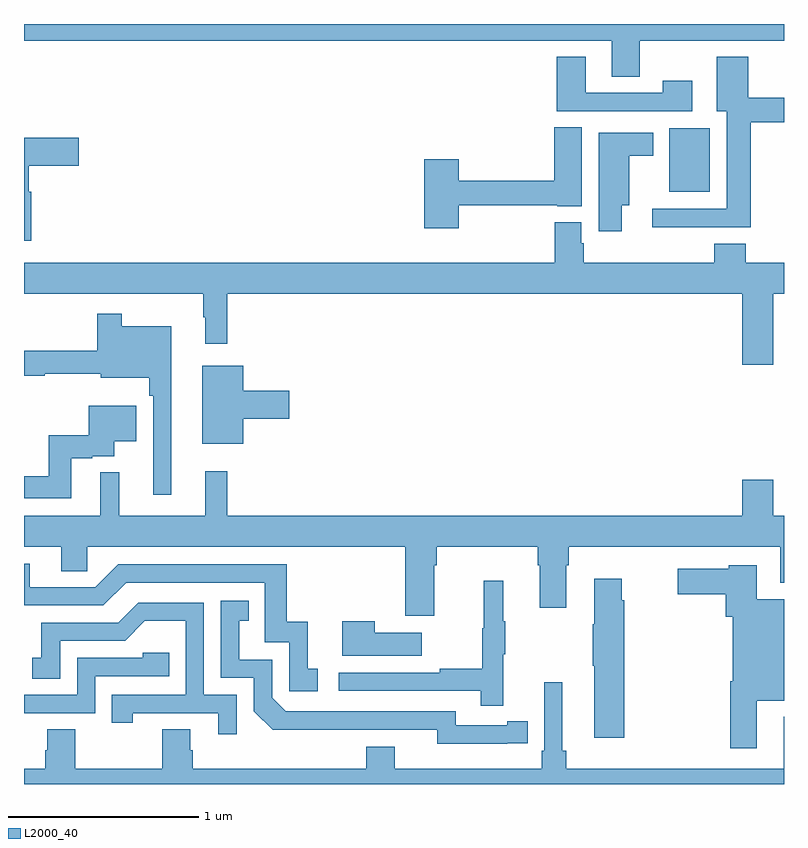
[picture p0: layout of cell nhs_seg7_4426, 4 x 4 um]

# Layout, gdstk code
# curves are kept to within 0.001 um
import gdstk
lib = gdstk.Library(unit=1e-6, precision=1e-09)
def R(c, l, rs):  # rectangles x0, y0, x1, y1
    for r in rs: c.add(gdstk.rectangle(r[:2], r[2:], *l))
def P(c, l, *ps):  # polygons
    for p in ps: c.add(gdstk.Polygon(p, *l))
L2000_40 = (2000, 40)

nhs_seg7_4426 = lib.new_cell('nhs_seg7_4426')
R(nhs_seg7_4426, L2000_40, [(392.396,1037.117,392.608,1037.452)])
P(nhs_seg7_4426, L2000_40, [(392.241,1037.912),(393,1037.912),(393,1038),(389,1038),(389,1037.912),(392.093,1037.912),(392.093,1037.722),(392.241,1037.722)],
  [(392.825,1037.482),(393,1037.482),(393,1037.611),(392.812,1037.611),(392.812,1037.827),(392.645,1037.827),(392.645,1037.54),(392.699,1037.54),(392.699,1037.028),(392.307,1037.028),(392.307,1036.93),(392.825,1036.93)],
  [(392.518,1037.701),(392.362,1037.701),(392.362,1037.637),(391.957,1037.637),(391.957,1037.827),(391.805,1037.827),(391.805,1037.541),(392.518,1037.541)],
  [(391.289,1037.046),(391.806,1037.046),(391.806,1037.042),(391.936,1037.042),(391.936,1037.456),(391.79,1037.456),(391.79,1037.174),(391.289,1037.174),(391.289,1037.287),(391.106,1037.287),(391.106,1036.926),(391.289,1036.926)],
  [(392.146,1037.045),(392.185,1037.045),(392.185,1037.306),(392.311,1037.306),(392.311,1037.428),(392.024,1037.428),(392.024,1036.908),(392.146,1036.908)],
  [(389.038,1037.118),(389.026,1037.118),(389.026,1037.255),(389.287,1037.255),(389.287,1037.402),(389,1037.402),(389,1036.859),(389.038,1036.859)],
  [(392.944,1036.58),(393,1036.58),(393,1036.744),(392.798,1036.744),(392.798,1036.843),(392.633,1036.843),(392.633,1036.744),(391.946,1036.744),(391.946,1036.845),(391.933,1036.845),(391.933,1036.957),(391.793,1036.957),(391.793,1036.744),(389,1036.744),(389,1036.58),(389.943,1036.58),(389.943,1036.457),(389.954,1036.457),(389.954,1036.317),(390.071,1036.317),(390.071,1036.58),(392.78,1036.58),(392.78,1036.206),(392.944,1036.206)],
  [(389.776,1036.408),(389.515,1036.408),(389.515,1036.474),(389.386,1036.474),(389.386,1036.279),(389,1036.279),(389,1036.15),(389.109,1036.15),(389.109,1036.158),(389.405,1036.158),(389.405,1036.139),(389.659,1036.139),(389.659,1036.043),(389.679,1036.043),(389.679,1035.522),(389.776,1035.522)],
  [(390.154,1035.923),(390.397,1035.923),(390.397,1036.07),(390.154,1036.07),(390.154,1036.201),(389.939,1036.201),(389.939,1035.791),(390.154,1035.791)],
  [(389.248,1035.714),(389.358,1035.714),(389.358,1035.726),(389.476,1035.726),(389.476,1035.803),(389.59,1035.803),(389.59,1035.991),(389.342,1035.991),(389.342,1035.835),(389.131,1035.835),(389.131,1035.62),(389,1035.62),(389,1035.504),(389.248,1035.504)],
  [(391.159,1035.152),(391.172,1035.152),(391.172,1035.248),(391.703,1035.248),(391.703,1035.152),(391.715,1035.152),(391.715,1034.928),(391.855,1034.928),(391.855,1035.152),(391.868,1035.152),(391.868,1035.248),(392.981,1035.248),(392.981,1035.058),(393,1035.058),(393,1035.412),(392.944,1035.412),(392.944,1035.601),(392.78,1035.601),(392.78,1035.412),(390.071,1035.412),(390.071,1035.646),(389.954,1035.646),(389.954,1035.412),(389.501,1035.412),(389.501,1035.641),(389.402,1035.641),(389.402,1035.412),(389,1035.412),(389,1035.248),(389.195,1035.248),(389.195,1035.121),(389.334,1035.121),(389.334,1035.248),(391.007,1035.248),(391.007,1034.886),(391.159,1034.886)],
  [(390.547,1034.607),(390.494,1034.607),(390.494,1034.853),(390.383,1034.853),(390.383,1035.156),(389.496,1035.156),(389.376,1035.036),(389.029,1035.036),(389.029,1035.159),(389,1035.159),(389,1034.94),(389.418,1034.94),(389.538,1035.06),(390.267,1035.06),(390.267,1034.745),(390.396,1034.745),(390.396,1034.487),(390.547,1034.487)],
  [(392.857,1034.438),(393,1034.438),(393,1034.973),(392.857,1034.973),(392.857,1035.151),(392.709,1035.151),(392.709,1035.133),(392.442,1035.133),(392.442,1034.999),(392.693,1034.999),(392.693,1034.88),(392.729,1034.88),(392.729,1034.542),(392.717,1034.542),(392.717,1034.187),(392.857,1034.187)],
  [(392.159,1034.966),(392.146,1034.966),(392.146,1035.079),(392,1035.079),(392,1034.84),(391.993,1034.84),(391.993,1034.623),(392,1034.623),(392,1034.244),(392.159,1034.244)],
  [(391.523,1034.683),(391.534,1034.683),(391.534,1034.857),(391.523,1034.857),(391.523,1035.07),(391.42,1035.07),(391.42,1034.82),(391.413,1034.82),(391.413,1034.606),(391.189,1034.606),(391.189,1034.586),(390.657,1034.586),(390.657,1034.49),(391.405,1034.49),(391.405,1034.412),(391.523,1034.412)],
  [(391.544,1034.214),(391.652,1034.214),(391.652,1034.33),(391.544,1034.33),(391.544,1034.31),(391.272,1034.31),(391.272,1034.382),(390.378,1034.382),(390.306,1034.454),(390.306,1034.655),(390.133,1034.655),(390.133,1034.859),(390.182,1034.859),(390.182,1034.965),(390.036,1034.965),(390.036,1034.559),(390.21,1034.559),(390.21,1034.382),(390.308,1034.285),(391.176,1034.286),(391.176,1034.213)],
  [(390.12,1034.469),(389.946,1034.469),(389.946,1034.955),(389.6,1034.955),(389.495,1034.85),(389.092,1034.85),(389.092,1034.665),(389.043,1034.665),(389.043,1034.555),(389.19,1034.555),(389.19,1034.754),(389.532,1034.754),(389.636,1034.858),(389.85,1034.858),(389.85,1034.469),(389.461,1034.469),(389.461,1034.322),(389.572,1034.322),(389.572,1034.373),(390.023,1034.373),(390.023,1034.262),(390.12,1034.262)],
  [(391.093,1034.797),(390.845,1034.797),(390.845,1034.857),(390.674,1034.857),(390.674,1034.675),(391.093,1034.675)],
  [(389.376,1034.568),(389.765,1034.568),(389.765,1034.691),(389.625,1034.691),(389.625,1034.664),(389.28,1034.664),(389.28,1034.469),(389,1034.469),(389,1034.373),(389.376,1034.373)],
  [(393,1034.353),(392.999,1034.353),(392.999,1034.08),(391.853,1034.08),(391.853,1034.176),(391.834,1034.176),(391.834,1034.536),(391.737,1034.536),(391.737,1034.176),(391.724,1034.176),(391.724,1034.08),(390.952,1034.08),(390.952,1034.197),(390.8,1034.197),(390.8,1034.08),(389.888,1034.08),(389.888,1034.178),(389.875,1034.178),(389.875,1034.288),(389.728,1034.288),(389.728,1034.08),(389.271,1034.08),(389.271,1034.288),(389.123,1034.288),(389.123,1034.178),(389.111,1034.178),(389.111,1034.08),(389,1034.08),(389,1034),(393,1034)])

lib.write_gds('nhs_seg7_4426.gds')
